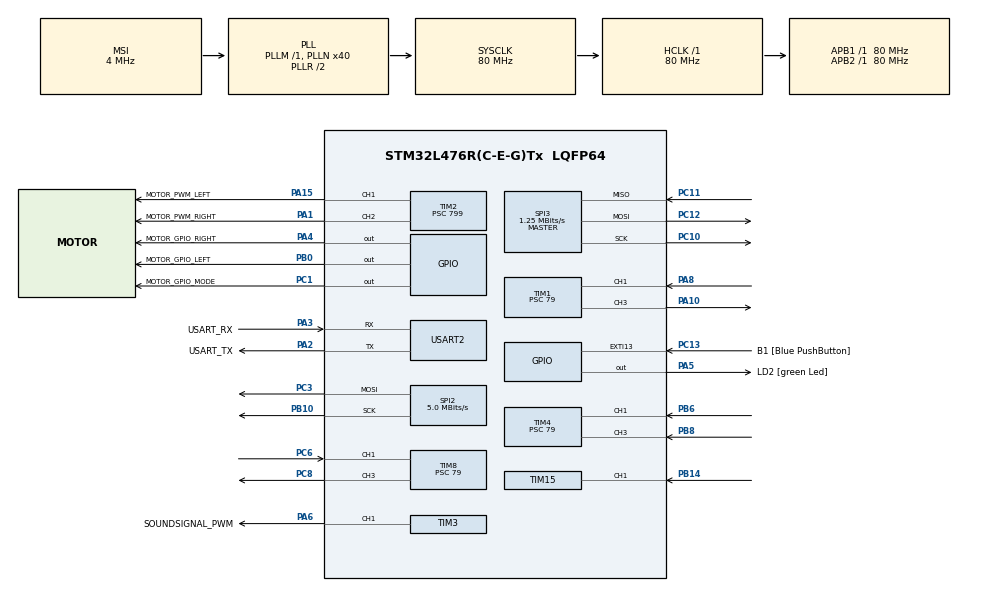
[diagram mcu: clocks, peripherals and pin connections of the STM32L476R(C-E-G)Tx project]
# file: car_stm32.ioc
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Dma.Request0=SPI2_TX
Dma.SPI2_TX.0.Direction=DMA_MEMORY_TO_PERIPH
Dma.SPI2_TX.0.Instance=DMA1_Channel5
Dma.SPI2_TX.0.MemDataAlignment=DMA_MDATAALIGN_BYTE
Dma.SPI2_TX.0.MemInc=DMA_MINC_ENABLE
Dma.SPI2_TX.0.Mode=DMA_NORMAL
Dma.SPI2_TX.0.PeriphDataAlignment=DMA_PDATAALIGN_BYTE
Dma.SPI2_TX.0.PeriphInc=DMA_PINC_DISABLE
Dma.SPI2_TX.0.Priority=DMA_PRIORITY_HIGH
Mcu.Family=STM32L4
Mcu.Name=STM32L476R(C-E-G)Tx
Mcu.Package=LQFP64
NVIC.DMA1_Channel5_IRQn=true\:0\:0\:false\:false\:true\:false\:true\:true
NVIC.EXTI15_10_IRQn=true\:4\:0\:true\:false\:true\:true\:true\:true
NVIC.PriorityGroup=NVIC_PRIORITYGROUP_4
NVIC.TIM1_BRK_TIM15_IRQn=true\:0\:0\:false\:false\:true\:true\:true\:true
NVIC.TIM1_CC_IRQn=true\:0\:0\:false\:false\:true\:true\:true\:true
NVIC.TIM1_TRG_COM_TIM17_IRQn=true\:0\:0\:false\:false\:true\:true\:true\:true
NVIC.TIM1_UP_TIM16_IRQn=true\:0\:0\:false\:false\:true\:true\:true\:true
NVIC.TIM6_DAC_IRQn=true\:2\:0\:true\:false\:true\:true\:true\:true
NVIC.TIM8_BRK_IRQn=true\:1\:0\:true\:false\:true\:true\:true\:true
NVIC.TIM8_CC_IRQn=true\:1\:0\:true\:false\:true\:true\:true\:true
NVIC.TIM8_TRG_COM_IRQn=true\:1\:0\:true\:false\:true\:true\:true\:true
NVIC.TIM8_UP_IRQn=true\:1\:0\:true\:false\:true\:true\:true\:true
PA1.GPIO_Label=MOTOR_PWM_RIGHT
PA1.GPIO_Speed=GPIO_SPEED_FREQ_VERY_HIGH
PA1.Signal=S_TIM2_CH2
PA10.Signal=S_TIM1_CH3
PA13\ (JTMS-SWDIO).GPIO_Label=TMS
PA13\ (JTMS-SWDIO).Mode=Serial_Wire
PA13\ (JTMS-SWDIO).Signal=SYS_JTMS-SWDIO
PA14\ (JTCK-SWCLK).GPIO_Label=TCK
PA14\ (JTCK-SWCLK).Mode=Serial_Wire
PA14\ (JTCK-SWCLK).Signal=SYS_JTCK-SWCLK
PA15\ (JTDI).GPIO_Label=MOTOR_PWM_LEFT
PA15\ (JTDI).GPIO_Speed=GPIO_SPEED_FREQ_VERY_HIGH
PA15\ (JTDI).Signal=S_TIM2_CH1
PA2.GPIO_Label=USART_TX
PA2.GPIO_Mode=GPIO_MODE_AF_PP
PA2.GPIO_PuPd=GPIO_NOPULL
PA2.GPIO_Speed=GPIO_SPEED_FREQ_VERY_HIGH
PA2.Mode=Asynchronous
PA2.Signal=USART2_TX
PA3.GPIO_Label=USART_RX
PA3.GPIO_Mode=GPIO_MODE_AF_PP
PA3.GPIO_PuPd=GPIO_NOPULL
PA3.GPIO_Speed=GPIO_SPEED_FREQ_VERY_HIGH
PA3.Mode=Asynchronous
PA3.Signal=USART2_RX
PA4.GPIO_Label=MOTOR_GPIO_RIGHT
PA4.Signal=GPIO_Output
PA5.GPIO_Label=LD2 [green Led]
PA5.GPIO_ModeDefaultOutputPP=GPIO_MODE_OUTPUT_PP
PA5.GPIO_PuPd=GPIO_NOPULL
PA5.GPIO_Speed=GPIO_SPEED_FREQ_LOW
PA5.Signal=GPIO_Output
PA6.GPIO_Label=SOUNDSIGNAL_PWM
PA6.Signal=S_TIM3_CH1
PA8.Signal=S_TIM1_CH1
PB0.GPIO_Label=MOTOR_GPIO_LEFT
PB0.Signal=GPIO_Output
PB10.Mode=TX_Only_Simplex_Unidirect_Master
PB10.Signal=SPI2_SCK
PB14.Signal=S_TIM15_CH1
PB3\ (JTDO-TRACESWO).GPIO_Label=SWO
PB3\ (JTDO-TRACESWO).Signal=SYS_JTDO-SWO
PB6.Signal=S_TIM4_CH1
PB8.Signal=S_TIM4_CH3
PC1.GPIO_Label=MOTOR_GPIO_MODE
PC1.Signal=GPIO_Output
PC10.Mode=Full_Duplex_Master
PC10.Signal=SPI3_SCK
PC11.Mode=Full_Duplex_Master
PC11.Signal=SPI3_MISO
PC12.Mode=Full_Duplex_Master
PC12.Signal=SPI3_MOSI
PC13.GPIO_Label=B1 [Blue PushButton]
PC13.GPIO_ModeDefaultEXTI=GPIO_MODE_IT_FALLING
PC13.GPIO_PuPd=GPIO_NOPULL
PC13.Signal=GPXTI13
PC14-OSC32_IN\ (PC14).Mode=LSE-External-Oscillator
PC14-OSC32_IN\ (PC14).Signal=RCC_OSC32_IN
PC15-OSC32_OUT\ (PC15).Mode=LSE-External-Oscillator
PC15-OSC32_OUT\ (PC15).Signal=RCC_OSC32_OUT
PC3.GPIO_Mode=GPIO_MODE_AF_PP
PC3.GPIO_PuPd=GPIO_NOPULL
PC3.Mode=TX_Only_Simplex_Unidirect_Master
PC3.Signal=SPI2_MOSI
PC6.Signal=S_TIM8_CH1
PC8.Signal=S_TIM8_CH3
PH0-OSC_IN\ (PH0).Signal=RCC_OSC_IN
PH1-OSC_OUT\ (PH1).Signal=RCC_OSC_OUT
ProjectManager.HeapSize=0x200
ProjectManager.StackSize=0x400
ProjectManager.TargetToolchain=STM32CubeIDE
RCC.ADCFreq_Value=16000000
RCC.AHBFreq_Value=80000000
RCC.APB1Freq_Value=80000000
RCC.APB1TimFreq_Value=80000000
RCC.APB2Freq_Value=80000000
RCC.APB2TimFreq_Value=80000000
RCC.CortexFreq_Value=80000000
RCC.HCLKFreq_Value=80000000
RCC.HSE_VALUE=8000000
RCC.HSI_VALUE=16000000
RCC.MSI_VALUE=4000000
RCC.PLLN=40
RCC.PREFETCH_ENABLE=1
RCC.SYSCLKFreq_VALUE=80000000
RCC.SYSCLKSource=RCC_SYSCLKSOURCE_PLLCLK
RCC.USBFreq_Value=16000000
RCC.VCOOutputFreq_Value=160000000
SH.S_TIM15_CH1.0=TIM15_CH1,TriggerSource_TI1ED
SH.S_TIM15_CH1.1=TIM15_CH1,Input_Capture1_from_TI1
SH.S_TIM1_CH1.0=TIM1_CH1,Input_Capture1_from_TI1
SH.S_TIM1_CH3.0=TIM1_CH3,PWM Generation3 CH3
SH.S_TIM2_CH1.0=TIM2_CH1,PWM Generation1 CH1
SH.S_TIM2_CH2.0=TIM2_CH2,PWM Generation2 CH2
SH.S_TIM3_CH1.0=TIM3_CH1,PWM Generation1 CH1
SH.S_TIM4_CH1.0=TIM4_CH1,Input_Capture1_from_TI1
SH.S_TIM4_CH3.0=TIM4_CH3,Input_Capture3_from_TI3
SH.S_TIM8_CH1.0=TIM8_CH1,Input_Capture1_from_TI1
SH.S_TIM8_CH3.0=TIM8_CH3,PWM Generation3 CH3
SPI2.BaudRatePrescaler=SPI_BAUDRATEPRESCALER_16
SPI2.CalculateBaudRate=5.0 MBits/s
SPI2.DataSize=SPI_DATASIZE_5BIT
SPI2.Direction=SPI_DIRECTION_2LINES
SPI2.FirstBit=SPI_FIRSTBIT_LSB
SPI2.Mode=SPI_MODE_MASTER
SPI2.VirtualType=VM_MASTER
SPI3.BaudRatePrescaler=SPI_BAUDRATEPRESCALER_64
SPI3.CalculateBaudRate=1.25 MBits/s
SPI3.DataSize=SPI_DATASIZE_8BIT
SPI3.Direction=SPI_DIRECTION_2LINES
SPI3.Mode=SPI_MODE_MASTER
SPI3.VirtualType=VM_MASTER
TIM1.Channel-Input_Capture1_from_TI1=TIM_CHANNEL_1
TIM1.Channel-Input_Capture2_from_TI1_63=TIM_CHANNEL_2
TIM1.Channel-PWM\ Generation3\ CH3=TIM_CHANNEL_3
TIM1.ICPolarity_CH2=TIM_INPUTCHANNELPOLARITY_FALLING
TIM1.Period=59999
TIM1.Prescaler=79
TIM1.Pulse-PWM\ Generation3\ CH3=10
TIM15.AutoReloadPreload=TIM_AUTORELOAD_PRELOAD_ENABLE
TIM15.Channel-Input_Capture1_from_TI1=TIM_CHANNEL_1
TIM15.ICFilter_CH1=1
TIM15.ICPolarity_CH1=TIM_INPUTCHANNELPOLARITY_FALLING
TIM15.Prescaler=79
TIM2.Channel-PWM\ Generation1\ CH1=TIM_CHANNEL_1
TIM2.Channel-PWM\ Generation2\ CH2=TIM_CHANNEL_2
TIM2.OCFastMode_PWM-PWM\ Generation1\ CH1=TIM_OCFAST_ENABLE
TIM2.OCFastMode_PWM-PWM\ Generation2\ CH2=TIM_OCFAST_ENABLE
TIM2.Period=99
TIM2.Prescaler=799
TIM2.Pulse-PWM\ Generation1\ CH1=0
TIM2.Pulse-PWM\ Generation2\ CH2=0
TIM3.Channel-PWM\ Generation1\ CH1=TIM_CHANNEL_1
TIM3.OCFastMode_PWM-PWM\ Generation1\ CH1=TIM_OCFAST_ENABLE
TIM3.Period=99
TIM3.Prescaler=2000
TIM3.Pulse-PWM\ Generation1\ CH1=1
TIM4.Channel-Input_Capture1_from_TI1=TIM_CHANNEL_1
TIM4.Channel-Input_Capture2_from_TI1_63=TIM_CHANNEL_2
TIM4.Channel-Input_Capture3_from_TI3=TIM_CHANNEL_3
TIM4.Channel-Input_Capture4_from_TI3_63=TIM_CHANNEL_4
TIM4.ICPolarity_CH2=TIM_INPUTCHANNELPOLARITY_FALLING
TIM4.Prescaler=79
TIM6.Period=7999
TIM6.Prescaler=9
TIM8.Channel-Input_Capture1_from_TI1=TIM_CHANNEL_1
TIM8.Channel-Input_Capture2_from_TI1_63=TIM_CHANNEL_2
TIM8.Channel-PWM\ Generation3\ CH3=TIM_CHANNEL_3
TIM8.ICPolarity_CH2=TIM_INPUTCHANNELPOLARITY_FALLING
TIM8.Period=59999
TIM8.Prescaler=79
TIM8.Pulse-PWM\ Generation3\ CH3=10
USART2.VirtualMode-Asynchronous=VM_ASYNC
VP_TIM15_VS_ClockSourceINT.Mode=Internal
VP_TIM15_VS_ControllerModeReset.Mode=Reset Mode
VP_TIM1_VS_ClockSourceINT.Mode=Internal
VP_TIM1_VS_indirect_ch1.Mode=Input_Capture2_from_TI1_63
VP_TIM2_VS_ClockSourceINT.Mode=Internal
VP_TIM3_VS_ClockSourceINT.Mode=Internal
VP_TIM4_VS_indirect_ch1.Mode=Input_Capture2_from_TI1_63
VP_TIM4_VS_indirect_ch3.Mode=Input_Capture4_from_TI3_63
VP_TIM6_VS_ClockSourceINT.Mode=Enable_Timer
VP_TIM8_VS_ClockSourceINT.Mode=Internal
VP_TIM8_VS_indirect_ch1.Mode=Input_Capture2_from_TI1_63
board=NUCLEO-L476RG

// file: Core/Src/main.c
/* USER CODE BEGIN Header */
/**
  ******************************************************************************
  * @file           : main.c
  * @brief          : Main program body
  ******************************************************************************
  * @attention
  *
  * Copyright (c) 2024 STMicroelectronics.
  * All rights reserved.
  *
  * This software is licensed under terms that can be found in the LICENSE file
  * in the root directory of this software component.
  * If no LICENSE file comes with this software, it is provided AS-IS.
  *
  ******************************************************************************
  */
/* USER CODE END Header */
#include "main.h"
#include "dma.h"
#include "spi.h"
#include "tim.h"
#include "usart.h"
#include "gpio.h"

/* USER CODE BEGIN Includes */
#include "distsensor.h"
#include "light.h"
#include "piloting.h"
#include "motor.h"
#include "soundsignal.h"
#include "setter.h"
#include "ir_remote/ir_remote.h"
/* USER CODE END Includes */

/* USER CODE BEGIN PD */
#define ASSUMED_DIST_FRONT	15.0f
#define ASSUMED_DIST_BACK	15.0f
/* USER CODE END PD */

void SystemClock_Config(void);

/* USER CODE BEGIN 0 */
void HAL_TIM_PeriodElapsedCallback(TIM_HandleTypeDef *htim)
{
	/* Front distance sensor measurement end interrupt handler */
	if (&htim8 == htim)
	{
		distsensor_calc_dist_front();
	}

	/* Back distance sensor measurement end interrupt handler */
	if (&htim1 == htim)
	{
		distsensor_calc_dist_back();
	}
}

void HAL_SPI_TxCpltCallback(SPI_HandleTypeDef *hspi)
{
	/* Sending light settings completed interrupt handler */
	if (&hspi2 == hspi)
	{
		light_sending_completed_callback();
	}

}

void HAL_TIM_IC_CaptureCallback(TIM_HandleTypeDef *htim)
{
	/* IR remote message incoming interrupt handler */
	if (&htim15 == htim)
	{
		ir_remote_IRQ();
	}
}

/* USER CODE END 0 */

int main(void)
{

  /* MCU Configuration--------------------------------------------------------*/

  /* Reset of all peripherals, Initializes the Flash interface and the Systick. */
  HAL_Init();

  /* Configure the system clock */
  SystemClock_Config();

  /* Initialize all configured peripherals */
  MX_GPIO_Init();
  MX_DMA_Init();
  MX_USART2_UART_Init();
  MX_SPI2_Init();
  MX_TIM2_Init();
  MX_TIM3_Init();
  MX_TIM6_Init();
  MX_TIM4_Init();
  MX_TIM8_Init();
  MX_SPI3_Init();
  MX_TIM15_Init();
  MX_TIM1_Init();
  /* USER CODE BEGIN 2 */

  /* Initialization of all modules */
  light_initall();
  ir_remote_init();
  motor_initall();
  soundsignal_init();
  distsensor_initall(ASSUMED_DIST_FRONT, ASSUMED_DIST_BACK);

  /* USER CODE END 2 */

  /* Infinite loop */
  /* USER CODE BEGIN WHILE */
  while (1)
  {
	  execute_cmd_if_pending();
	  light_readset_all_if_changed_and_send_sets();
	  check_distance_from_obstacles_and_eventually_stop_motors();

	  /* Wait for interrupt */
	  __WFI();

    /* USER CODE END WHILE */

  }
}

void SystemClock_Config(void)
{
  RCC_OscInitTypeDef RCC_OscInitStruct = {0};
  RCC_ClkInitTypeDef RCC_ClkInitStruct = {0};

  /** Configure the main internal regulator output voltage
  */
  if (HAL_PWREx_ControlVoltageScaling(PWR_REGULATOR_VOLTAGE_SCALE1) != HAL_OK)
  {
    Error_Handler();
  }

  /** Configure LSE Drive Capability
  */
  HAL_PWR_EnableBkUpAccess();
  __HAL_RCC_LSEDRIVE_CONFIG(RCC_LSEDRIVE_LOW);

  /** Initializes the RCC Oscillators according to the specified parameters
  * in the RCC_OscInitTypeDef structure.
  */
  RCC_OscInitStruct.OscillatorType = RCC_OSCILLATORTYPE_LSE|RCC_OSCILLATORTYPE_MSI;
  RCC_OscInitStruct.LSEState = RCC_LSE_ON;
  RCC_OscInitStruct.MSIState = RCC_MSI_ON;
  RCC_OscInitStruct.MSICalibrationValue = 0;
  RCC_OscInitStruct.MSIClockRange = RCC_MSIRANGE_6;
  RCC_OscInitStruct.PLL.PLLState = RCC_PLL_ON;
  RCC_OscInitStruct.PLL.PLLSource = RCC_PLLSOURCE_MSI;
  RCC_OscInitStruct.PLL.PLLM = 1;
  RCC_OscInitStruct.PLL.PLLN = 40;
  RCC_OscInitStruct.PLL.PLLP = RCC_PLLP_DIV7;
  RCC_OscInitStruct.PLL.PLLQ = RCC_PLLQ_DIV2;
  RCC_OscInitStruct.PLL.PLLR = RCC_PLLR_DIV2;
  if (HAL_RCC_OscConfig(&RCC_OscInitStruct) != HAL_OK)
  {
    Error_Handler();
  }

  /** Initializes the CPU, AHB and APB buses clocks
  */
  RCC_ClkInitStruct.ClockType = RCC_CLOCKTYPE_HCLK|RCC_CLOCKTYPE_SYSCLK
                              |RCC_CLOCKTYPE_PCLK1|RCC_CLOCKTYPE_PCLK2;
  RCC_ClkInitStruct.SYSCLKSource = RCC_SYSCLKSOURCE_PLLCLK;
  RCC_ClkInitStruct.AHBCLKDivider = RCC_SYSCLK_DIV1;
  RCC_ClkInitStruct.APB1CLKDivider = RCC_HCLK_DIV1;
  RCC_ClkInitStruct.APB2CLKDivider = RCC_HCLK_DIV1;

  if (HAL_RCC_ClockConfig(&RCC_ClkInitStruct, FLASH_LATENCY_4) != HAL_OK)
  {
    Error_Handler();
  }

  /** Enable MSI Auto calibration
  */
  HAL_RCCEx_EnableMSIPLLMode();
}

void Error_Handler(void)
{
  __disable_irq();
  while (1)
  {
  }
}
